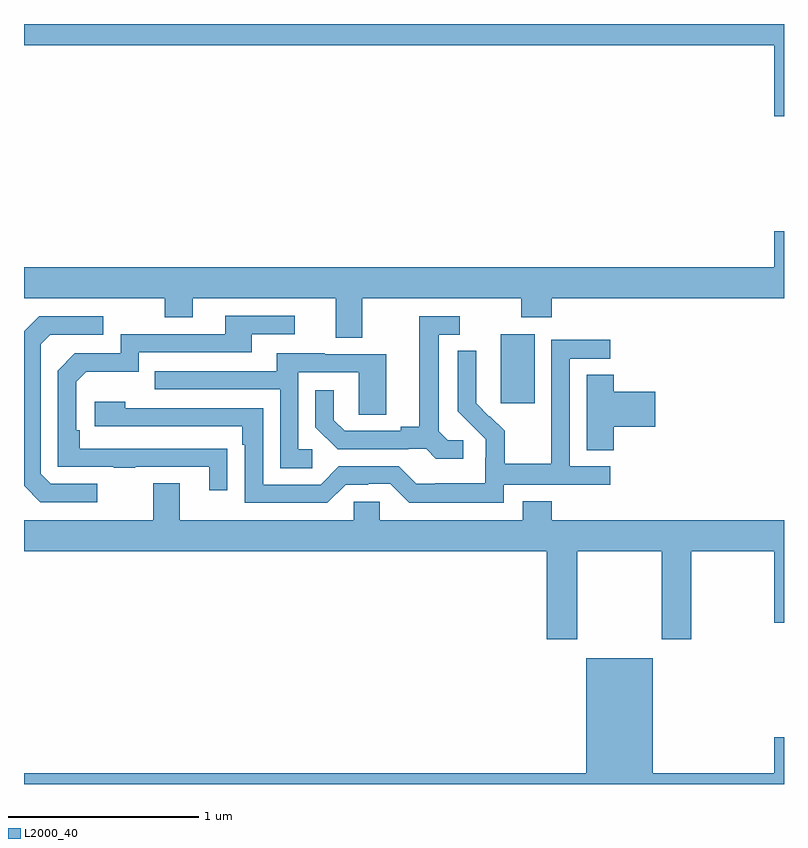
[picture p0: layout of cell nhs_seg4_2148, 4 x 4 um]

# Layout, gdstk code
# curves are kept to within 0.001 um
import gdstk
lib = gdstk.Library(unit=1e-6, precision=1e-09)
def R(c, l, rs):  # rectangles x0, y0, x1, y1
    for r in rs: c.add(gdstk.rectangle(r[:2], r[2:], *l))
def P(c, l, *ps):  # polygons
    for p in ps: c.add(gdstk.Polygon(p, *l))
L2000_40 = (2000, 40)

nhs_seg4_2148 = lib.new_cell('nhs_seg4_2148')
R(nhs_seg4_2148, L2000_40, [(223.508,826.905,223.687,827.266)])
P(nhs_seg4_2148, L2000_40, [(225,828.9),(221,828.9),(221,828.788),(224.948,828.788),(224.948,828.414),(225,828.414)],
  [(222.781,827.456),(223.618,827.456),(223.618,827.357),(223.778,827.357),(223.778,827.456),(225,827.456),(225,827.809),(224.948,827.809),(224.948,827.62),(221,827.62),(221,827.456),(221.74,827.456),(221.74,827.357),(221.887,827.357),(221.887,827.456),(222.641,827.456),(222.641,827.248),(222.781,827.248)],
  [(222.071,826.664),(221.294,826.665),(221.294,826.762),(221.274,826.762),(221.274,827.016),(221.327,827.069),(221.604,827.069),(221.604,827.172),(222.199,827.172),(222.199,827.268),(222.424,827.268),(222.424,827.364),(222.059,827.364),(222.059,827.268),(221.508,827.268),(221.508,827.166),(221.268,827.166),(221.178,827.076),(221.178,826.569),(221.473,826.569),(221.473,826.564),(221.585,826.564),(221.585,826.569),(221.975,826.569),(221.975,826.446),(222.071,826.446)],
  [(223.312,826.71),(223.23,826.71),(223.183,826.757),(223.183,827.265),(223.294,827.265),(223.294,827.361),(223.079,827.361),(223.079,826.781),(222.983,826.781),(222.983,826.758),(222.688,826.758),(222.631,826.815),(222.631,826.972),(222.534,826.972),(222.534,826.778),(222.65,826.662),(223.022,826.662),(223.022,826.665),(223.116,826.665),(223.168,826.613),(223.312,826.613)],
  [(221.386,826.479),(221.142,826.479),(221.088,826.533),(221.088,827.214),(221.139,827.265),(221.416,827.265),(221.416,827.361),(221.079,827.361),(221,827.282),(221,826.469),(221.085,826.383),(221.386,826.383)],
  [(223.524,826.476),(224.086,826.476),(224.086,826.572),(223.872,826.572),(223.872,827.139),(224.086,827.139),(224.086,827.238),(223.776,827.238),(223.776,826.808),(223.774,826.808),(223.774,826.585),(223.529,826.585),(223.529,826.759),(223.452,826.836),(223.449,826.833),(223.379,826.904),(223.38,827.18),(223.284,827.18),(223.284,826.862),(223.43,826.714),(223.43,826.617),(223.428,826.617),(223.428,826.483),(223.165,826.483),(223.165,826.479),(223.065,826.479),(222.972,826.572),(222.657,826.572),(222.561,826.476),(222.258,826.476),(222.258,826.878),(221.534,826.878),(221.534,826.912),(221.373,826.912),(221.373,826.782),(222.149,826.782),(222.149,826.685),(222.162,826.685),(222.162,826.38),(222.597,826.38),(222.693,826.476),(222.812,826.476),(222.812,826.479),(222.927,826.479),(223.027,826.379),(223.524,826.379)],
  [(222.517,826.662),(222.444,826.662),(222.444,827.067),(222.762,827.067),(222.762,826.843),(222.907,826.843),(222.907,827.163),(222.583,827.163),(222.583,827.167),(222.329,827.167),(222.329,827.073),(221.689,827.073),(221.689,826.977),(222.348,826.977),(222.348,826.561),(222.517,826.561)],
  [(224.105,826.781),(224.323,826.781),(224.323,826.964),(224.105,826.964),(224.105,827.054),(223.961,827.054),(223.961,826.657),(224.105,826.657)],
  [(223.911,826.124),(224.356,826.124),(224.356,825.663),(224.511,825.663),(224.511,826.124),(224.948,826.124),(224.948,825.75),(225,825.75),(225,826.288),(223.778,826.288),(223.778,826.387),(223.625,826.387),(223.625,826.288),(222.873,826.288),(222.873,826.386),(222.735,826.386),(222.735,826.288),(221.821,826.288),(221.821,826.483),(221.681,826.483),(221.681,826.288),(221,826.288),(221,826.124),(223.751,826.124),(223.751,825.663),(223.911,825.663)],
  [(225,825.145),(224.948,825.145),(224.948,824.956),(224.308,824.956),(224.308,825.562),(223.958,825.562),(223.958,824.956),(221,824.956),(221,824.9),(225,824.9)])

lib.write_gds('nhs_seg4_2148.gds')
